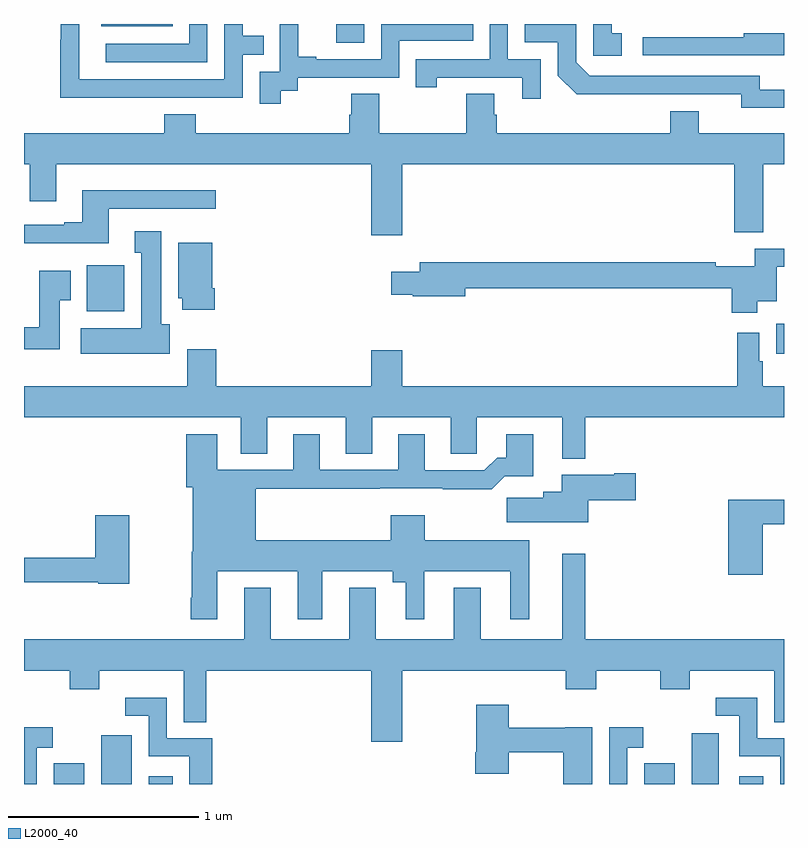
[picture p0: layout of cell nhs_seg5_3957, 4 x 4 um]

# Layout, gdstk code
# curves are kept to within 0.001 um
import gdstk
lib = gdstk.Library(unit=1e-6, precision=1e-09)
def R(c, l, rs):  # rectangles x0, y0, x1, y1
    for r in rs: c.add(gdstk.rectangle(r[:2], r[2:], *l))
def P(c, l, *ps):  # polygons
    for p in ps: c.add(gdstk.Polygon(p, *l))
L2000_40 = (2000, 40)

nhs_seg5_3957 = lib.new_cell('nhs_seg5_3957')
R(nhs_seg5_3957, L2000_40, [(343.157,886.799,343.318,886.908), (343.406,886.799,343.567,887.056), (343.656,886.799,343.783,886.84), (346.265,886.799,346.426,886.908), (346.514,886.799,346.657,887.065), (346.764,886.799,346.891,886.84), (346.958,889.064,347,889.222), (343.331,889.286,343.528,889.528), (344.643,890.7,344.79,890.799), (343.406,890.786,343.784,890.799)])
P(nhs_seg5_3957, L2000_40, [(346.147,890.751),(346.094,890.751),(346.094,890.799),(345.996,890.799),(345.996,890.631),(346.147,890.631)],
  [(343.965,890.799),(343.869,890.799),(343.869,890.694),(343.431,890.694),(343.431,890.598),(343.965,890.598)],
  [(347,890.454),(346.872,890.454),(346.872,890.526),(345.978,890.526),(345.906,890.598),(345.906,890.799),(345.636,890.799),(345.636,890.703),(345.81,890.703),(345.81,890.526),(345.908,890.429),(346.776,890.43),(346.776,890.357),(347,890.357)],
  [(345.72,890.613),(345.546,890.613),(345.546,890.799),(345.45,890.799),(345.45,890.613),(345.061,890.613),(345.061,890.466),(345.172,890.466),(345.172,890.517),(345.623,890.517),(345.623,890.406),(345.72,890.406)],
  [(343.655,890.412),(344.151,890.412),(344.151,890.637),(344.261,890.637),(344.261,890.738),(344.151,890.738),(344.151,890.799),(344.055,890.799),(344.055,890.508),(343.29,890.508),(343.29,890.799),(343.194,890.799),(343.194,890.717),(343.192,890.717),(343.192,890.411),(343.655,890.411)],
  [(344.35,890.449),(344.442,890.449),(344.442,890.517),(344.976,890.517),(344.976,890.712),(345.365,890.712),(345.365,890.799),(344.88,890.799),(344.88,890.613),(344.539,890.613),(344.539,890.626),(344.444,890.626),(344.444,890.799),(344.345,890.799),(344.345,890.777),(344.346,890.777),(344.346,890.547),(344.241,890.547),(344.241,890.379),(344.35,890.379)],
  [(347,890.75),(346.789,890.75),(346.789,890.73),(346.257,890.73),(346.257,890.634),(347,890.634)],
  [(344.992,890.06),(346.739,890.06),(346.739,889.702),(346.891,889.702),(346.891,890.06),(347,890.06),(347,890.224),(346.552,890.224),(346.552,890.341),(346.4,890.341),(346.4,890.224),(345.488,890.224),(345.488,890.322),(345.475,890.322),(345.475,890.432),(345.328,890.432),(345.328,890.224),(344.871,890.224),(344.871,890.432),(344.723,890.432),(344.723,890.322),(344.711,890.322),(344.711,890.224),(343.904,890.224),(343.904,890.323),(343.739,890.323),(343.739,890.224),(343,890.224),(343,890.06),(343.031,890.06),(343.031,889.866),(343.171,889.866),(343.171,890.06),(344.828,890.06),(344.828,889.686),(344.992,889.686)],
  [(343.447,889.827),(344.008,889.827),(344.008,889.924),(343.307,889.924),(343.307,889.756),(343.211,889.756),(343.211,889.743),(343,889.743),(343,889.646),(343.447,889.646)],
  [(343.768,889.218),(343.723,889.218),(343.723,889.708),(343.583,889.708),(343.583,889.595),(343.616,889.595),(343.616,889.198),(343.299,889.198),(343.299,889.064),(343.768,889.064)],
  [(344.003,889.408),(343.99,889.408),(343.99,889.648),(343.811,889.648),(343.811,889.356),(343.832,889.356),(343.832,889.296),(344.003,889.296)],
  [(346.858,889.34),(346.962,889.34),(346.962,889.521),(347,889.521),(347,889.617),(346.846,889.617),(346.846,889.524),(346.64,889.524),(346.64,889.544),(345.083,889.544),(345.083,889.495),(344.934,889.495),(344.934,889.373),(345.046,889.373),(345.046,889.366),(345.322,889.366),(345.322,889.408),(346.724,889.408),(346.724,889.278),(346.858,889.278)],
  [(343.189,889.345),(343.246,889.345),(343.246,889.501),(343.079,889.501),(343.079,889.204),(343,889.204),(343,889.086),(343.189,889.086)],
  [(345.955,888.728),(347,888.728),(347,888.892),(346.888,888.892),(346.888,889.025),(346.869,889.025),(346.869,889.174),(346.753,889.174),(346.753,888.892),(344.992,888.892),(344.992,889.081),(344.828,889.081),(344.828,888.892),(344.012,888.892),(344.012,889.087),(343.859,889.087),(343.859,888.892),(343,888.892),(343,888.728),(344.141,888.728),(344.141,888.538),(344.281,888.538),(344.281,888.728),(344.693,888.728),(344.693,888.538),(344.833,888.538),(344.833,888.728),(345.245,888.728),(345.245,888.538),(345.384,888.538),(345.384,888.728),(345.833,888.728),(345.833,888.512),(345.955,888.512)],
  [(344.017,887.918),(344.441,887.918),(344.441,887.667),(344.569,887.667),(344.569,887.918),(344.942,887.918),(344.942,887.861),(345.008,887.861),(345.008,887.667),(345.106,887.667),(345.106,887.918),(345.56,887.918),(345.56,887.667),(345.658,887.667),(345.658,888.082),(345.108,888.082),(345.108,888.214),(344.93,888.214),(344.93,888.082),(344.221,888.082),(344.221,888.352),(344.873,888.352),(344.873,888.356),(345.205,888.356),(345.205,888.35),(345.461,888.35),(345.53,888.419),(345.679,888.419),(345.679,888.64),(345.539,888.64),(345.539,888.517),(345.49,888.517),(345.423,888.45),(345.109,888.45),(345.109,888.64),(344.969,888.64),(344.969,888.453),(344.557,888.453),(344.557,888.64),(344.417,888.64),(344.417,888.453),(344.017,888.453),(344.017,888.64),(343.853,888.64),(343.853,888.36),(343.889,888.36),(343.889,888.022),(343.882,888.022),(343.882,887.779),(343.877,887.779),(343.877,887.667),(344.017,887.667)],
  [(345.97,888.293),(346.219,888.293),(346.219,888.435),(346.106,888.435),(346.106,888.427),(345.83,888.427),(345.83,888.337),(345.734,888.337),(345.734,888.305),(345.54,888.305),(345.54,888.176),(345.97,888.176)],
  [(346.889,888.166),(347,888.166),(347,888.295),(346.706,888.295),(346.706,887.901),(346.889,887.901)],
  [(343.554,888.214),(343.376,888.214),(343.376,887.99),(343,887.99),(343,887.862),(343.392,887.862),(343.392,887.854),(343.554,887.854)],
  [(344.851,887.833),(344.711,887.833),(344.711,887.56),(344.299,887.56),(344.299,887.833),(344.159,887.833),(344.159,887.56),(343,887.56),(343,887.396),(343.24,887.396),(343.24,887.297),(343.395,887.297),(343.395,887.396),(343.841,887.396),(343.841,887.125),(343.96,887.125),(343.96,887.396),(344.828,887.396),(344.828,887.022),(344.992,887.022),(344.992,887.396),(345.851,887.396),(345.851,887.297),(346.011,887.297),(346.011,887.396),(346.348,887.396),(346.348,887.297),(346.503,887.297),(346.503,887.396),(346.949,887.396),(346.949,887.125),(347,887.125),(347,887.56),(345.955,887.56),(345.955,888.01),(345.833,888.01),(345.833,887.56),(345.403,887.56),(345.403,887.833),(345.263,887.833),(345.263,887.56),(344.851,887.56)],
  [(343.99,887.04),(343.752,887.04),(343.752,887.254),(343.533,887.254),(343.533,887.157),(343.656,887.157),(343.656,886.944),(343.871,886.944),(343.871,886.799),(343.99,886.799)],
  [(347,887.04),(346.86,887.04),(346.86,887.254),(346.641,887.254),(346.641,887.157),(346.764,887.157),(346.764,886.944),(346.979,886.944),(346.979,886.799),(347,886.799)],
  [(345.991,887.098),(345.849,887.098),(345.849,887.095),(345.552,887.095),(345.552,887.215),(345.379,887.215),(345.379,886.966),(345.374,886.966),(345.374,886.854),(345.552,886.854),(345.552,886.966),(345.838,886.966),(345.838,886.799),(345.991,886.799)],
  [(346.176,886.989),(346.258,886.989),(346.258,887.098),(346.08,887.098),(346.08,886.799),(346.176,886.799)],
  [(343.068,886.989),(343.15,886.989),(343.15,887.098),(343,887.098),(343,886.799),(343.068,886.799)])

lib.write_gds('nhs_seg5_3957.gds')
